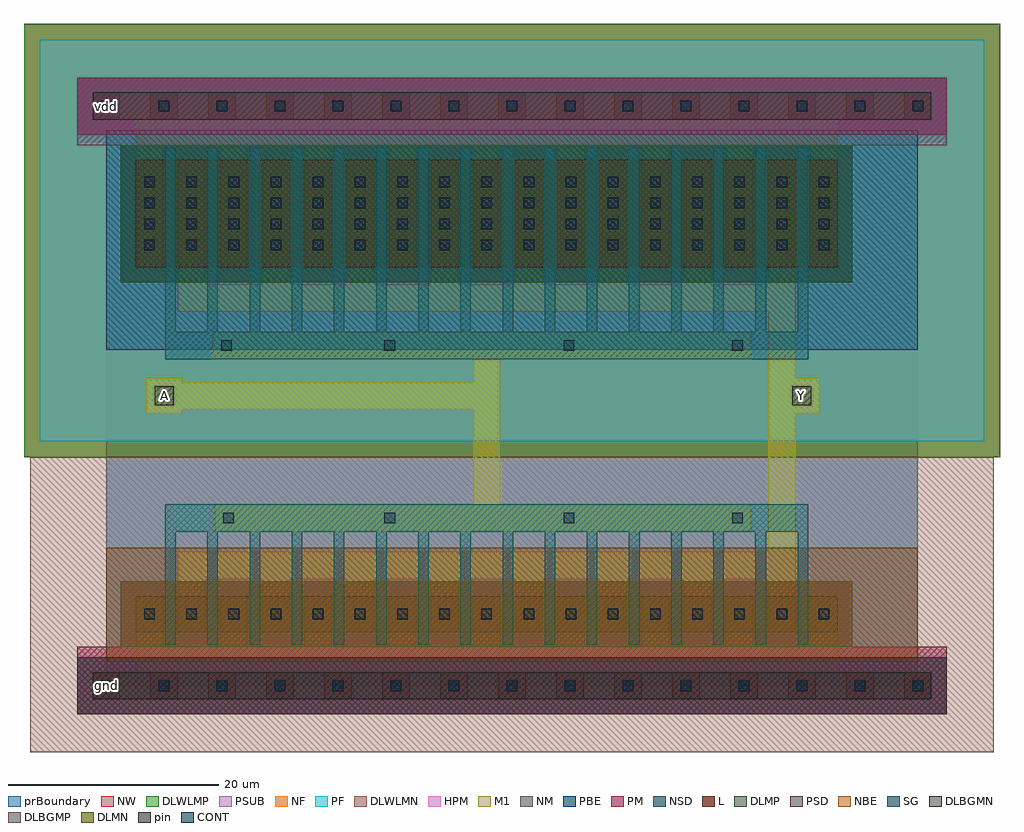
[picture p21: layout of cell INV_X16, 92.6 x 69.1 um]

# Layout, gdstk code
import gdstk
lib = gdstk.Library(unit=1e-6, precision=1e-09)
def R(c, l, rs):  # rectangles x0, y0, x1, y1
    for r in rs: c.add(gdstk.rectangle(r[:2], r[2:], *l))
def A(c, l, x, y, w, h, nx, ny, dx, dy):  # array of equal rectangles
    R(c, l, [(x+i*dx, y+j*dy, x+i*dx+w, y+j*dy+h) for i in range(nx) for j in range(ny)])
def P(c, l, *ps):  # polygons
    for p in ps: c.add(gdstk.Polygon(p, *l))
L = (3, 0)
NM = (7, 0)
SG = (8, 0)
PSD = (9, 0)
CONT = (11, 0)
M1 = (13, 0)
NF = (25, 0)
PF = (26, 0)
NSD = (28, 0)
HPM = (33, 0)
PM = (35, 0)
NW = (36, 0)
pin = (48, 1)
PSUB = (140, 0)
PBE = (146, 0)
NBE = (147, 0)
DLWLMP = (150, 0)
DLWLMN = (151, 0)
DLMP = (157, 0)
DLMN = (158, 0)
DLBGMP = (177, 0)
DLBGMN = (178, 0)
prBoundary = (235, 0)

inv_x16 = lib.new_cell('INV_X16')
A(inv_x16, L, -1.3, -1.3, 2.6, 2.6, 15, 2, 5.5, 55)
R(inv_x16, L, [(2.8,5.1,69.4,8.5), (2.8,39.7,69.4,49.9)])
R(inv_x16, NM, [(-2.75,-2.7,79.75,2.7)])
P(inv_x16, NM, [(1.4,38.3),(1.4,51.3),(-2.75,51.3),(-2.75,57.7),(79.75,57.7),(79.75,51.3),(70.8,51.3),(70.8,38.3)])
P(inv_x16, SG, [(5.6,3.9),(5.6,17.2),(66.6,17.2),(66.6,3.9),(65.6,3.9),(65.6,14.6),(62.6,14.6),(62.6,3.9),(61.6,3.9),(61.6,14.6),(58.6,14.6),(58.6,3.9),(57.6,3.9),(57.6,14.6),(54.6,14.6),(54.6,3.9),(53.6,3.9),(53.6,14.6),(50.6,14.6),(50.6,3.9),(49.6,3.9),(49.6,14.6),(46.6,14.6),(46.6,3.9),(45.6,3.9),(45.6,14.6),(42.6,14.6),(42.6,3.9),(41.6,3.9),(41.6,14.6),(38.6,14.6),(38.6,3.9),(37.6,3.9),(37.6,14.6),(34.6,14.6),(34.6,3.9),(33.6,3.9),(33.6,14.6),(30.6,14.6),(30.6,3.9),(29.6,3.9),(29.6,14.6),(26.6,14.6),(26.6,3.9),(25.6,3.9),(25.6,14.6),(22.6,14.6),(22.6,3.9),(21.6,3.9),(21.6,14.6),(18.6,14.6),(18.6,3.9),(17.6,3.9),(17.6,14.6),(14.6,14.6),(14.6,3.9),(13.6,3.9),(13.6,14.6),(10.6,14.6),(10.6,3.9),(9.6,3.9),(9.6,14.6),(6.6,14.6),(6.6,3.9)],
  [(5.6,31),(5.6,51.1),(6.6,51.1),(6.6,33.6),(9.6,33.6),(9.6,51.1),(10.6,51.1),(10.6,33.6),(13.6,33.6),(13.6,51.1),(14.6,51.1),(14.6,33.6),(17.6,33.6),(17.6,51.1),(18.6,51.1),(18.6,33.6),(21.6,33.6),(21.6,51.1),(22.6,51.1),(22.6,33.6),(25.6,33.6),(25.6,51.1),(26.6,51.1),(26.6,33.6),(29.6,33.6),(29.6,51.1),(30.6,51.1),(30.6,33.6),(33.6,33.6),(33.6,51.1),(34.6,51.1),(34.6,33.6),(37.6,33.6),(37.6,51.1),(38.6,51.1),(38.6,33.6),(41.6,33.6),(41.6,51.1),(42.6,51.1),(42.6,33.6),(45.6,33.6),(45.6,51.1),(46.6,51.1),(46.6,33.6),(49.6,33.6),(49.6,51.1),(50.6,51.1),(50.6,33.6),(53.6,33.6),(53.6,51.1),(54.6,51.1),(54.6,33.6),(57.6,33.6),(57.6,51.1),(58.6,51.1),(58.6,33.6),(61.6,33.6),(61.6,51.1),(62.6,51.1),(62.6,33.6),(65.6,33.6),(65.6,51.1),(66.6,51.1),(66.6,31)])
R(inv_x16, PSD, [(1.4,3.7,70.8,9.9), (-2.75,52.3,79.75,57.7)])
A(inv_x16, CONT, -0.5, -0.5, 1, 1, 15, 2, 5.5, 55)
A(inv_x16, CONT, 3.6, 6.3, 1, 1, 17, 2, 4, 35)
A(inv_x16, CONT, 3.6, 43.3, 1, 1, 17, 3, 4, 2)
R(inv_x16, CONT, [(11.1,15.4,12.1,16.4), (26.4,15.4,27.4,16.4), (43.4,15.4,44.4,16.4), (59.4,15.4,60.4,16.4), (10.9,31.8,11.9,32.8), (26.4,31.8,27.4,32.8), (43.4,31.8,44.4,32.8), (59.4,31.8,60.4,32.8)])
P(inv_x16, M1, [(-1.3,-1.3),(-1.3,1.3),(2.8,1.3),(2.8,8.5),(5.4,8.5),(5.4,3.7),(10.8,3.7),(10.8,8.5),(13.4,8.5),(13.4,3.7),(18.8,3.7),(18.8,8.5),(21.4,8.5),(21.4,3.7),(26.8,3.7),(26.8,8.5),(29.4,8.5),(29.4,3.7),(34.8,3.7),(34.8,8.5),(37.4,8.5),(37.4,3.7),(42.8,3.7),(42.8,8.5),(45.4,8.5),(45.4,3.7),(50.8,3.7),(50.8,8.5),(53.4,8.5),(53.4,3.7),(58.8,3.7),(58.8,8.5),(61.4,8.5),(61.4,3.7),(66.8,3.7),(66.8,8.5),(69.4,8.5),(69.4,1.3),(78.3,1.3),(78.3,-1.3)],
  [(10.3,14.6),(10.3,17.2),(34.8,17.2),(34.8,26.2),(7.2,26.2),(7.2,25.8),(3.8,25.8),(3.8,29.2),(7.2,29.2),(7.2,28.8),(34.8,28.8),(34.8,31),(10.1,31),(10.1,33.6),(61.2,33.6),(61.2,31),(37.4,31),(37.4,17.2),(61.2,17.2),(61.2,14.6)],
  [(6.8,5.1),(6.8,12.7),(62.8,12.7),(62.8,35.5),(6.8,35.5),(6.8,49.9),(9.4,49.9),(9.4,38.1),(14.8,38.1),(14.8,49.9),(17.4,49.9),(17.4,38.1),(22.8,38.1),(22.8,49.9),(25.4,49.9),(25.4,38.1),(30.8,38.1),(30.8,49.9),(33.4,49.9),(33.4,38.1),(38.8,38.1),(38.8,49.9),(41.4,49.9),(41.4,38.1),(46.8,38.1),(46.8,49.9),(49.4,49.9),(49.4,38.1),(54.8,38.1),(54.8,49.9),(57.4,49.9),(57.4,38.1),(62.8,38.1),(62.8,49.9),(65.4,49.9),(65.4,29.2),(67.7,29.2),(67.7,25.8),(65.4,25.8),(65.4,5.1),(62.8,5.1),(62.8,10.1),(57.4,10.1),(57.4,5.1),(54.8,5.1),(54.8,10.1),(49.4,10.1),(49.4,5.1),(46.8,5.1),(46.8,10.1),(41.4,10.1),(41.4,5.1),(38.8,5.1),(38.8,10.1),(33.4,10.1),(33.4,5.1),(30.8,5.1),(30.8,10.1),(25.4,10.1),(25.4,5.1),(22.8,5.1),(22.8,10.1),(17.4,10.1),(17.4,5.1),(14.8,5.1),(14.8,10.1),(9.4,10.1),(9.4,5.1)],
  [(2.8,39.7),(2.8,53.7),(-1.3,53.7),(-1.3,56.3),(78.3,56.3),(78.3,53.7),(69.4,53.7),(69.4,39.7),(66.8,39.7),(66.8,51.3),(61.4,51.3),(61.4,39.7),(58.8,39.7),(58.8,51.3),(53.4,51.3),(53.4,39.7),(50.8,39.7),(50.8,51.3),(45.4,51.3),(45.4,39.7),(42.8,39.7),(42.8,51.3),(37.4,51.3),(37.4,39.7),(34.8,39.7),(34.8,51.3),(29.4,51.3),(29.4,39.7),(26.8,39.7),(26.8,51.3),(21.4,51.3),(21.4,39.7),(18.8,39.7),(18.8,51.3),(13.4,51.3),(13.4,39.7),(10.8,39.7),(10.8,51.3),(5.4,51.3),(5.4,39.7)])
R(inv_x16, NF, [(-6.3,23.2,83.3,61.3)])
R(inv_x16, PF, [(-6.3,23.2,83.3,61.3)])
R(inv_x16, NSD, [(-2.75,-2.7,79.75,2.7), (1.4,38.3,70.8,51.3)])
P(inv_x16, HPM, [(-2.75,-2.7),(-2.75,3.7),(1.4,3.7),(1.4,9.9),(70.8,9.9),(70.8,3.7),(79.75,3.7),(79.75,-2.7)],
  [(1.4,38.3),(1.4,51.3),(-2.75,51.3),(-2.75,57.7),(79.75,57.7),(79.75,51.3),(70.8,51.3),(70.8,38.3)])
R(inv_x16, PM, [(-2.75,52.3,79.75,57.7)])
P(inv_x16, PM, [(-2.75,-2.7),(-2.75,3.7),(1.4,3.7),(1.4,9.9),(70.8,9.9),(70.8,3.7),(79.75,3.7),(79.75,-2.7)])
R(inv_x16, NW, [(-7.8,21.7,84.8,62.8)])
R(inv_x16, pin, [(-1.3,-1.3,78.3,1.3), (4.6,26.6,6.4,28.4), (65.1,26.6,66.9,28.4), (-1.3,53.7,78.3,56.3)])
R(inv_x16, PSUB, [(-6.3,23.2,83.3,61.3)])
R(inv_x16, PBE, [(0,31.9,77,52.7)])
R(inv_x16, NBE, [(0,2.3,77,13.1)])
R(inv_x16, DLWLMP, [(-7.8,21.7,84.8,62.8)])
R(inv_x16, DLWLMN, [(-7.2,-6.3,84.2,21.7)])
R(inv_x16, DLMP, [(1.4,38.3,70.8,51.3)])
R(inv_x16, DLMN, [(1.4,3.7,70.8,9.9)])
R(inv_x16, DLBGMP, [(-2.75,52.3,79.75,57.7)])
R(inv_x16, DLBGMN, [(-2.75,-2.7,79.75,2.7)])
R(inv_x16, prBoundary, [(0,0,77,55)])
inv_x16.add(gdstk.Label('Y', (66,27.5), layer=48, texttype=0))
inv_x16.add(gdstk.Label('A', (5.5,27.5), layer=48, texttype=0))
inv_x16.add(gdstk.Label('vdd', (0,55), layer=48, texttype=0))
inv_x16.add(gdstk.Label('gnd', (0,0), layer=48, texttype=0))

lib.write_gds('INV_X16.gds')
